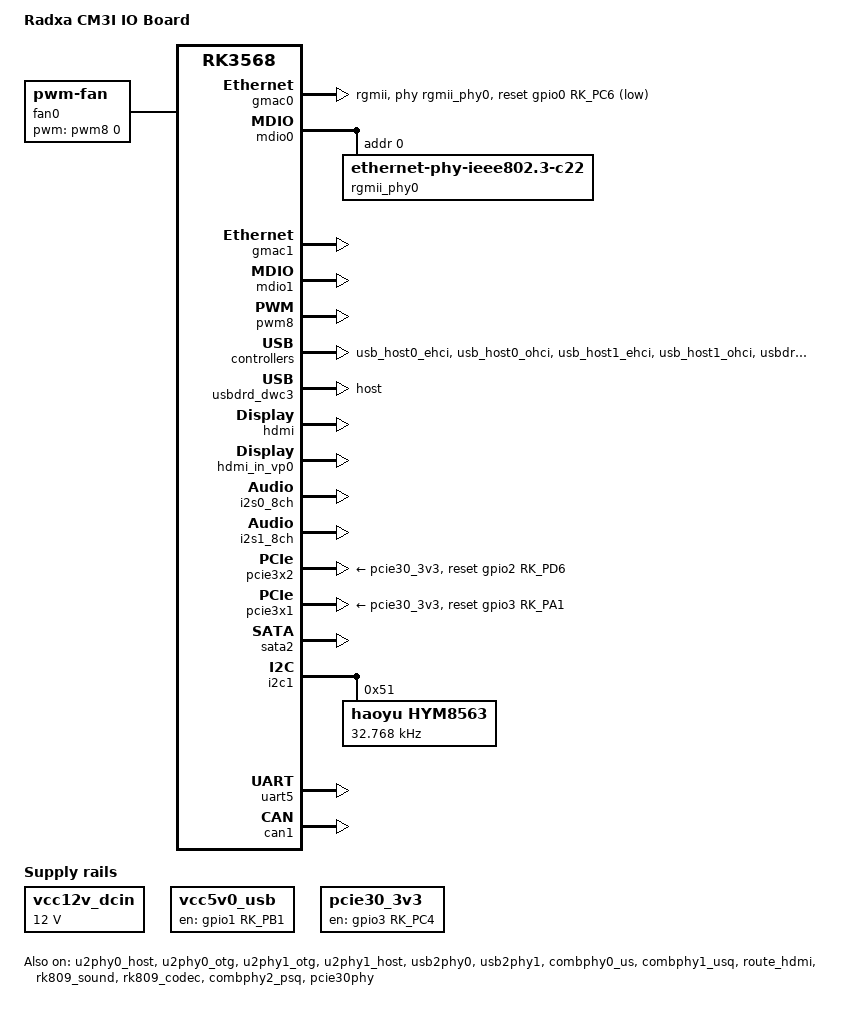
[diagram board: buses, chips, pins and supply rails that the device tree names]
// SPDX-License-Identifier: (GPL-2.0+ OR MIT)
/*
 * Copyright (c) 2020 Rockchip Electronics Co., Ltd.
 * Copyright (c) 2023 Radxa Computer (Shenzhen) Co., Ltd.
 *
 */

/dts-v1/;

#include <dt-bindings/display/rockchip_vop.h>
#include "rk3568-radxa-cm3i.dtsi"

/ {
	model = "Radxa CM3I IO Board";
	compatible = "radxa,cm3i-io", "radxa,cm3i", "rockchip,rk3568";

	fan0: pwm-fan {
		compatible = "pwm-fan";
		#cooling-cells = <2>;
		cooling-levels = <0 64 128 192 255>;
		pwms = <&pwm8 0 10000 0>;
	};

	vcc12v_dcin: vcc12v-dcin {
		compatible = "regulator-fixed";
		regulator-name = "vcc12v_dcin";
		regulator-always-on;
		regulator-boot-on;
		regulator-min-microvolt = <12000000>;
		regulator-max-microvolt = <12000000>;
	};

	vcc5v0_usb: vcc5v0-usb {
		compatible = "regulator-fixed";
		enable-active-high;
		gpio = <&gpio1 RK_PB1 GPIO_ACTIVE_HIGH>;
		pinctrl-names = "default";
		pinctrl-0 = <&vcc5v0_en>;
		regulator-name = "vcc5v0_usb";
	};

	pcie30_3v3: pcie30-3v3 {
		compatible = "regulator-fixed";
		regulator-name = "pcie30_3v3";
		enable-active-high;
		regulator-always-on;
		regulator-boot-on;
		gpio = <&gpio3 RK_PC4 GPIO_ACTIVE_HIGH>;
		pinctrl-names = "default";
		pinctrl-0 = <&pcie3v3_en>;
	};

	hdmi_sound: hdmi-sound {
		status = "okay";
		compatible = "rockchip,hdmi";
		rockchip,mclk-fs = <128>;
		rockchip,card-name = "rockchip-hdmi";
		rockchip,cpu = <&i2s0_8ch>;
		rockchip,codec = <&hdmi>;
		rockchip,jack-det;
	};
};

&vcc5v0_sys {
	vin-supply = <&vcc12v_dcin>;
};

&gmac0 {
	phy-mode = "rgmii";
	clock_in_out = "output";

	snps,reset-gpio = <&gpio0 RK_PC6 GPIO_ACTIVE_LOW>;
	snps,reset-active-low;
	/* Reset time is 20ms, 100ms for rtl8211f */
	snps,reset-delays-us = <0 20000 100000>;

	assigned-clocks = <&cru SCLK_GMAC0_RX_TX>, <&cru SCLK_GMAC0>;
	assigned-clock-parents = <&cru SCLK_GMAC0_RGMII_SPEED>;
	assigned-clock-rates = <0>, <125000000>;

	pinctrl-names = "default";
	pinctrl-0 = <&gmac0_miim
		     &gmac0_tx_bus2
		     &gmac0_rx_bus2
		     &gmac0_rgmii_clk
		     &gmac0_rgmii_bus>;

	tx_delay = <0x36>;
	rx_delay = <0x2d>;

	phy-handle = <&rgmii_phy0>;
	status = "okay";
};

&mdio0 {
	status = "okay";

	rgmii_phy0: phy@0 {
		compatible = "ethernet-phy-ieee802.3-c22";
		reg = <0x0>;
	};
};

&gmac1 {
	status = "okay";
};

&mdio1 {
	status = "okay";
};

&pwm8 {
	status = "okay";
	pinctrl-0 = <&pwm8m0_pins>;
};

&u2phy0_host {
	status = "okay";
};

&u2phy0_otg {
	rockchip,dis-u2-susphy;
	vbus-supply = <&vcc5v0_usb>;
	status = "okay";
};

&u2phy1_otg {
	status = "okay";
};

&u2phy1_host {
	status = "okay";
};

&usb2phy0 {
	status = "okay";
};

&usb2phy1 {
	status = "okay";
};

&usb_host0_ehci {
	status = "okay";
};

&usb_host0_ohci {
	status = "okay";
};

&usb_host1_ehci {
	status = "okay";
};

&usb_host1_ohci {
	status = "okay";
};

&usbdrd_dwc3 {
	dr_mode = "host";
	status = "okay";
};

&usbdrd30 {
	status = "okay";
};

&usbhost_dwc3 {
	status = "okay";
};

&usbhost30 {
	status = "okay";
};

&combphy0_us {
	status = "okay";
};

&combphy1_usq {
	status = "okay";
};

&hdmi {
	status = "okay";
	pinctrl-0 = <&hdmitx_scl &hdmitx_sda &hdmitxm0_cec>;
};

&hdmi_in_vp0 {
	status = "okay";
};

&route_hdmi {
	status = "okay";
	connect = <&vp0_out_hdmi>;
};

&i2s0_8ch {
	status = "okay";
};

&i2s1_8ch {
	status = "okay";
};

&rk809_sound {
	hp-det-gpio = <&gpio4 RK_PC4 GPIO_ACTIVE_HIGH>;
	pinctrl-names = "default";
	pinctrl-0 = <&hp_det>;
	status = "okay";
};

&rk809_codec {
	status = "okay";
};

&combphy2_psq {
	status = "okay";
};

&pcie30phy {
	status = "okay";
};

&pcie3x2 {
	reset-gpios = <&gpio2 RK_PD6 GPIO_ACTIVE_HIGH>;
	vpcie3v3-supply = <&pcie30_3v3>;
	pinctrl-0 = <&pcie30x2m1_pins>;
	rockchip,bifurcation;
	status = "okay";
};

&pcie3x1 {
	reset-gpios = <&gpio3 RK_PA1 GPIO_ACTIVE_HIGH>;
	vpcie3v3-supply = <&pcie30_3v3>;
	pinctrl-0 = <&pcie30x1m1_pins>;
	rockchip,bifurcation;
	status = "okay";
};

&pcie2x1 {
	reset-gpios = <&gpio3 RK_PC1 GPIO_ACTIVE_HIGH>;
	vpcie3v3-supply = <&pcie30_3v3>;
	pinctrl-0 = <&pcie20m1_pins>;
	status = "disabled";
};

&sata2 {
	status = "okay";
};

&soc_thermal {
	sustainable-power = <5000>; /* milliwatts */
	cooling-maps {
		map2 {
			trip = <&target>;
			cooling-device =
				<&fan0 THERMAL_NO_LIMIT THERMAL_NO_LIMIT>;
			contribution = <8192>;
		};
		map3 {
			trip = <&threshold>;
			cooling-device =
				<&fan0 THERMAL_NO_LIMIT THERMAL_NO_LIMIT>;
			contribution = <8192>;
		};
	};
};

&threshold {
	temperature = <60000>;
};

&i2c1 {
	status = "okay";
	pinctrl-0 = <&i2c1_xfer>;

	hym8563: hym8563@51 {
		compatible = "haoyu,hym8563";
		status = "okay";
		reg = <0x51>;
		#clock-cells = <0>;
		clock-frequency = <32768>;
		clock-output-names = "hym8563";
	};
};

&rk809 {
	rtc {
		status = "disabled";
	};
};

&uart5 {
	status = "okay";
	pinctrl-names = "default";
	pinctrl-0 = <&uart5m1_xfer>;
};

&can1 {
	status = "okay";
	compatible = "rockchip,can-1.0";
	assigned-clocks = <&cru CLK_CAN1>;
	assigned-clock-rates = <200000000>;
	pinctrl-names = "default";
	pinctrl-0 = <&can1m0_pins>;
};

&vp0 {
	rockchip,plane-mask = <(1 << ROCKCHIP_VOP2_CLUSTER0 | 1 << ROCKCHIP_VOP2_ESMART0 |
				1 << ROCKCHIP_VOP2_SMART0)>;
	rockchip,primary-plane = <ROCKCHIP_VOP2_CLUSTER0>;
	cursor-win-id = <ROCKCHIP_VOP2_ESMART0>;
};

&pinctrl {
	usb {
		vcc5v0_en: vcc5v0-en {
			rockchip,pins = <1 RK_PB1 RK_FUNC_GPIO &pcfg_pull_none>;
		};
	};

	pcie {
		pcie3v3_en: pcie3v3-en {
			rockchip,pins = <3 RK_PC4 RK_FUNC_GPIO &pcfg_pull_none>;
		};
	};

	headphone {
		hp_det: hp-det {
			rockchip,pins = <4 RK_PC4 RK_FUNC_GPIO &pcfg_pull_up>;
		};
	};
};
